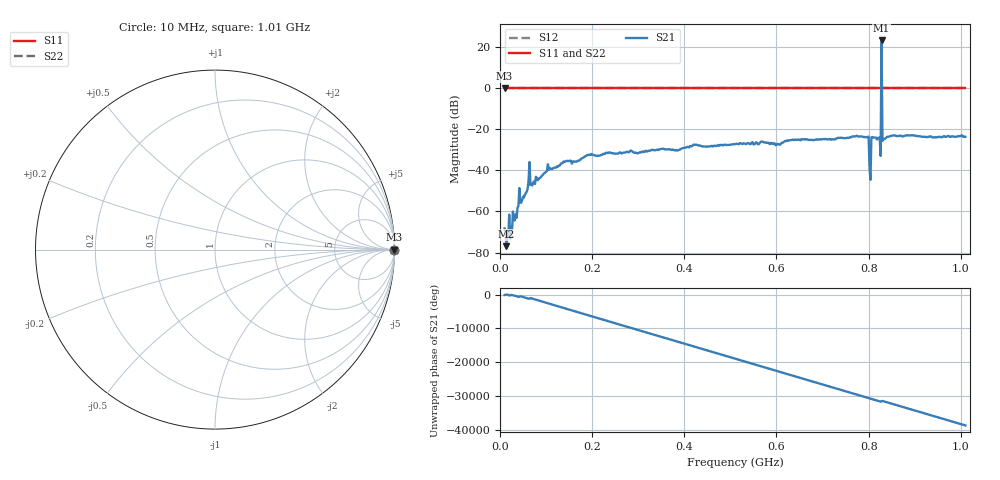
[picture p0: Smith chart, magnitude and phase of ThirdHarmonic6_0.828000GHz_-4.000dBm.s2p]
! 8/16/2025 3:29:26 AM
! C:\ANRITSUVNA\TEMP\TEMP.S2P
! CHANNEL.1
! TR.MEASUREMENT
! RAW.DATA
! RF.CORRECTION.OFF
! AVERAGING.OFF
! IF.BANDWIDTH: 5KHZ
! SWEEPTYPE:  FREQ.SWEEP(Linear)
! Reference Plane Port Info
! PORT:  PORT1  PORT2
! DISTANCE:  0  m  0  m
! TIME:  0  s  0  s
! PHASE.OFFSET:  0  deg.  0  deg.
! LOSS:  0  dB  0  dB
! REF.LOSS:  0  dB  0  dB
! REF.FREQ:  0  Hz  0  Hz
! Power Info
! POWER:  -20  dBm  -20  dBm
! EFF.POWER:  -20  dBm  -20  dBm
! SOURCE.ATTEN:  0  dB  0  dB
! TEST.ATTEN:  0  dB  0  dB
# GHZ S RI R 50.0
! FREQ.GHZ  S11RE  S11IM  S21RE  S21IM  S12RE  S12IM  S22RE  S22IM
!; PortSelection: Port_12
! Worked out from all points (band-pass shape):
!   501 points, 10 MHz to 1.01 GHz, reference 50 ohm
!   highest |S21| = 23.27 dB at 828 MHz (marker M1); lowest = -76.9 dB at 14 MHz (marker M2)
!   |S21| within 3 dB of the highest: 827.8933 MHz to 828.1226 MHz (229.4 kHz wide, 0.0277 % of centre)
!   lowest |S11| = 0.0 dB at 10 MHz (marker M3)
!   |S11| at or under -10 dB: nowhere
!   |S22| runs from 0.0 to 0.0 dB; largest |S21 - S12| = 15
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0.01  1 0  -0.000244 -0.0003  1 0  1 0
0.014  1 0  9.62e-05 -0.000106  1 0  1 0
0.042  1 0  7.15e-05 0.00372  1 0  1 0
0.056  1 0  -0.000727 0.00272  1 0  1 0
0.064  1 0  -0.00702 -0.0144  1 0  1 0
0.072  1 0  -0.00504 0.000744  1 0  1 0
0.106  1 0  -0.00723 -0.00741  1 0  1 0
0.178  1 0  -0.0191 -0.00447  1 0  1 0
0.344  1 0  0.0307 -0.00574  1 0  1 0
0.51  1 0  -0.0415 0.0129  1 0  1 0
0.678  1 0  -0.0211 -0.0509  1 0  1 0
0.796  1 0  -0.0639 0.00444  1 0  1 0
0.8  1 0  0.0646 0.0157  1 0  1 0
0.806  1 0  -0.0458 0.0443  1 0  1 0
0.81  1 0  0.0555 -0.0312  1 0  1 0
0.822  1 0  -0.054 -0.0321  1 0  1 0
0.824  1 0  -0.0419 0.0465  1 0  1 0
0.828  1 0  -13.19 6.194  1 0  1 0
0.832  1 0  -0.057 0.0137  1 0  1 0
0.834  1 0  0.000338 0.0576  1 0  1 0
0.844  1 0  0.0415 0.0515  1 0  1 0
1.01  1 0  -0.0604 -0.0258  1 0  1 0
